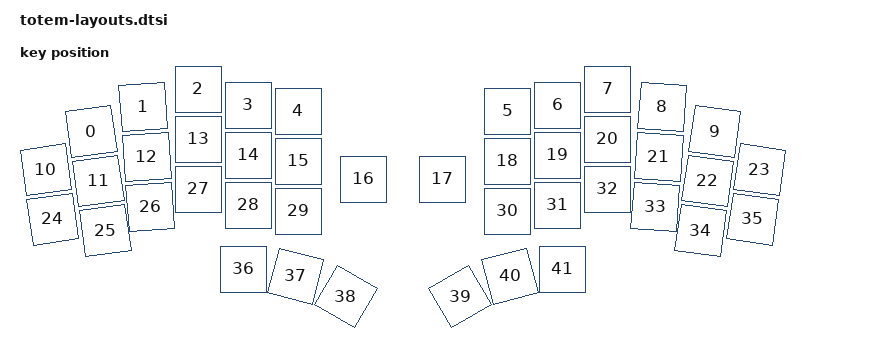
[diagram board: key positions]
#include <physical_layouts.dtsi>

/ {
    aonami_layout: aonami_layout {
        compatible = "zmk,physical-layout";
        display-name = "AONAMI Keyboard Layout";

        //kscan = <&kscan0>;
        transform = <&default_transform>;

        keys  //                     w   h    x    y     rot    rx    ry
            = <&key_physical_attrs 100 100  100   77  (-800)   200   232>
            , <&key_physical_attrs 100 100  200   32  (-400)   300   220>
            , <&key_physical_attrs 100 100  300    0       0     0     0>
            , <&key_physical_attrs 100 100  400   32       0     0     0>
            , <&key_physical_attrs 100 100  500   44       0     0     0>
            , <&key_physical_attrs 100 100  919   44       0     0     0>
            , <&key_physical_attrs 100 100 1019   32       0     0     0>
            , <&key_physical_attrs 100 100 1119    0       0     0     0>
            , <&key_physical_attrs 100 100 1219   32     400  1219   220>
            , <&key_physical_attrs 100 100 1319   77     800  1319   232>
            , <&key_physical_attrs 100 100    0  140  (-800)   200   232>
            , <&key_physical_attrs 100 100  100  177  (-800)   200   232>
            , <&key_physical_attrs 100 100  200  132  (-400)   300   220>
            , <&key_physical_attrs 100 100  300  100       0     0     0>
            , <&key_physical_attrs 100 100  400  132       0     0     0>
            , <&key_physical_attrs 100 100  500  144       0     0     0>
            , <&key_physical_attrs 100 100  630  180       0     0     0>
            , <&key_physical_attrs 100 100  789  180       0     0     0>
            , <&key_physical_attrs 100 100  919  144       0     0     0>
            , <&key_physical_attrs 100 100 1019  132       0     0     0>
            , <&key_physical_attrs 100 100 1119  100       0     0     0>
            , <&key_physical_attrs 100 100 1219  132     400  1219   220>
            , <&key_physical_attrs 100 100 1319  177     800  1319   232>
            , <&key_physical_attrs 100 100 1419  140     800  1319   232>
            , <&key_physical_attrs 100 100    0  240  (-800)   200   232>
            , <&key_physical_attrs 100 100  100  277  (-800)   200   232>
            , <&key_physical_attrs 100 100  200  232  (-400)   300   220>
            , <&key_physical_attrs 100 100  300  200       0     0     0>
            , <&key_physical_attrs 100 100  400  232       0     0     0>
            , <&key_physical_attrs 100 100  500  244       0     0     0>
            , <&key_physical_attrs 100 100  919  244       0     0     0>
            , <&key_physical_attrs 100 100 1019  232       0     0     0>
            , <&key_physical_attrs 100 100 1119  200       0     0     0>
            , <&key_physical_attrs 100 100 1219  232     400  1219   220>
            , <&key_physical_attrs 100 100 1319  277     800  1319   232>
            , <&key_physical_attrs 100 100 1419  240     800  1319   232>
            , <&key_physical_attrs 100 100  390  360       0     0     0>
            , <&key_physical_attrs 100 100  490  350    1500   450   432>
            , <&key_physical_attrs 100 100  588  365    3000   548   453>
            , <&key_physical_attrs 100 100  831  365 (-3000)   971   453>
            , <&key_physical_attrs 100 100  929  350 (-1500)  1069   432>
            , <&key_physical_attrs 100 100 1029  360       0     0     0>
            ;
    };
};

//&layouts_totem_position_map {
//    totem_posmap: six {
//        physical-layout = <&totem_layout>;
//        positions
//            = <    1  2  3  4  5       6  7  8  9 10   >
//            , <12 13 14 15 16 17 0 11 18 19 20 21 22 23>
//            , <24 25 26 27 28 29      30 31 32 33 34 35>
//            , <         36 37 38      39 40 41         >;
//    };
//};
